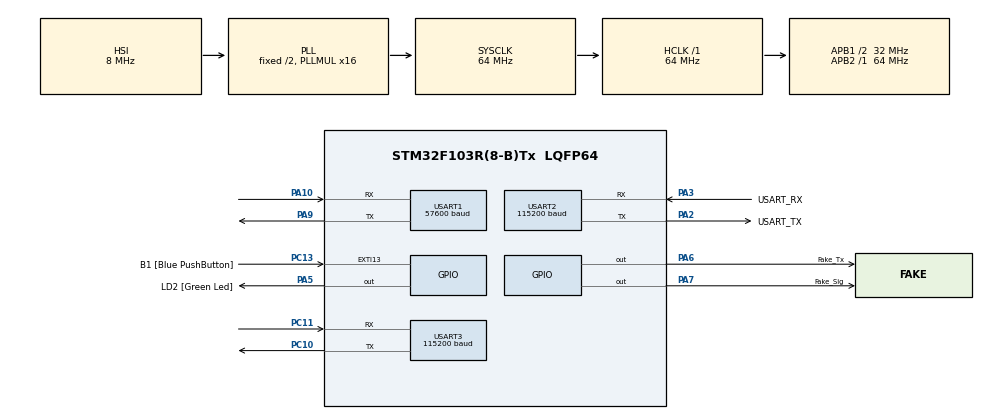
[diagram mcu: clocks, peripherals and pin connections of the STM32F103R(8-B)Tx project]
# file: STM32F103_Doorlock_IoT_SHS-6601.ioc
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Mcu.Family=STM32F1
Mcu.Name=STM32F103R(8-B)Tx
Mcu.Package=LQFP64
NVIC.EXTI15_10_IRQn=true\:0\:0\:false\:false\:true\:true\:true\:true
NVIC.PriorityGroup=NVIC_PRIORITYGROUP_4
NVIC.TIM2_IRQn=true\:0\:0\:false\:false\:true\:true\:true\:true
NVIC.USART1_IRQn=true\:0\:0\:false\:false\:true\:true\:true\:true
NVIC.USART2_IRQn=true\:0\:0\:false\:false\:true\:true\:true\:true
NVIC.USART3_IRQn=true\:0\:0\:false\:false\:true\:true\:true\:true
PA10.Mode=Asynchronous
PA10.Signal=USART1_RX
PA13.GPIO_Label=TMS
PA13.Mode=Serial_Wire
PA13.Signal=SYS_JTMS-SWDIO
PA14.GPIO_Label=TCK
PA14.Mode=Serial_Wire
PA14.Signal=SYS_JTCK-SWCLK
PA2.GPIO_Label=USART_TX
PA2.GPIO_Mode=GPIO_MODE_AF_PP
PA2.GPIO_PuPd=GPIO_NOPULL
PA2.GPIO_Speed=GPIO_SPEED_FREQ_LOW
PA2.Mode=Asynchronous
PA2.Signal=USART2_TX
PA3.GPIO_Label=USART_RX
PA3.GPIO_Mode=GPIO_MODE_AF_PP
PA3.GPIO_PuPd=GPIO_NOPULL
PA3.GPIO_Speed=GPIO_SPEED_FREQ_LOW
PA3.Mode=Asynchronous
PA3.Signal=USART2_RX
PA5.GPIO_Label=LD2 [Green Led]
PA5.GPIO_ModeDefaultOutputPP=GPIO_MODE_OUTPUT_PP
PA5.GPIO_PuPd=GPIO_NOPULL
PA5.GPIO_Speed=GPIO_SPEED_FREQ_LOW
PA5.Signal=GPIO_Output
PA6.GPIO_Label=Fake_Tx
PA6.GPIO_PuPd=GPIO_PULLDOWN
PA6.GPIO_Speed=GPIO_SPEED_FREQ_HIGH
PA6.Signal=GPIO_Output
PA7.GPIO_Label=Fake_Sig
PA7.GPIO_PuPd=GPIO_PULLDOWN
PA7.GPIO_Speed=GPIO_SPEED_FREQ_HIGH
PA7.PinState=GPIO_PIN_RESET
PA7.Signal=GPIO_Output
PA9.Mode=Asynchronous
PA9.Signal=USART1_TX
PB3.GPIO_Label=SWO
PB3.Signal=SYS_JTDO-TRACESWO
PC10.Mode=Asynchronous
PC10.Signal=USART3_TX
PC11.Mode=Asynchronous
PC11.Signal=USART3_RX
PC13-TAMPER-RTC.GPIO_Label=B1 [Blue PushButton]
PC13-TAMPER-RTC.GPIO_PuPd=GPIO_NOPULL
PC13-TAMPER-RTC.Signal=GPXTI13
PC14-OSC32_IN.Mode=LSE-External-Oscillator
PC14-OSC32_IN.Signal=RCC_OSC32_IN
PC15-OSC32_OUT.Mode=LSE-External-Oscillator
PC15-OSC32_OUT.Signal=RCC_OSC32_OUT
PD0-OSC_IN.Mode=HSE-External-Clock-Source
PD0-OSC_IN.Signal=RCC_OSC_IN
PD1-OSC_OUT.Mode=HSE-External-Clock-Source
PD1-OSC_OUT.Signal=RCC_OSC_OUT
ProjectManager.HeapSize=0x200
ProjectManager.StackSize=0x400
ProjectManager.TargetToolchain=STM32CubeIDE
RCC.AHBFreq_Value=64000000
RCC.APB1CLKDivider=RCC_HCLK_DIV2
RCC.APB1Freq_Value=32000000
RCC.APB1TimFreq_Value=64000000
RCC.APB2Freq_Value=64000000
RCC.APB2TimFreq_Value=64000000
RCC.HCLKFreq_Value=64000000
RCC.PLLMUL=RCC_PLL_MUL16
RCC.RTCClockSelection=RCC_RTCCLKSOURCE_LSE
RCC.SYSCLKFreq_VALUE=64000000
RCC.SYSCLKSource=RCC_SYSCLKSOURCE_PLLCLK
RCC.USBFreq_Value=64000000
TIM2.Channel-Output\ Compare1\ No\ Output=TIM_CHANNEL_1
TIM2.Channel-Output\ Compare2\ No\ Output=TIM_CHANNEL_2
TIM2.Channel-Output\ Compare3\ No\ Output=TIM_CHANNEL_3
TIM2.Channel-Output\ Compare4\ No\ Output=TIM_CHANNEL_4
TIM2.Prescaler=6400-1
TIM2.Pulse-Output\ Compare1\ No\ Output=0
TIM2.Pulse-Output\ Compare2\ No\ Output=0
TIM2.Pulse-Output\ Compare3\ No\ Output=0
TIM2.Pulse-Output\ Compare4\ No\ Output=0
USART1.BaudRate=57600
USART1.StopBits=STOPBITS_2
USART1.VirtualMode=VM_ASYNC
USART2.BaudRate=115200
USART2.VirtualMode=VM_ASYNC
USART3.BaudRate=115200
USART3.VirtualMode=VM_ASYNC
VP_TIM2_VS_no_output1.Mode=Output Compare1 No Output
VP_TIM2_VS_no_output2.Mode=Output Compare2 No Output
VP_TIM2_VS_no_output3.Mode=Output Compare3 No Output
VP_TIM2_VS_no_output4.Mode=Output Compare4 No Output
board=NUCLEO-F103RB

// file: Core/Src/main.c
/* USER CODE BEGIN Header */
/**
  ******************************************************************************
  * @file           : main.c
  * @brief          : Main program body
  ******************************************************************************
  * @attention
  *
  * Copyright (c) 2025 STMicroelectronics.
  * All rights reserved.
  *
  * This software is licensed under terms that can be found in the LICENSE file
  * in the root directory of this software component.
  * If no LICENSE file comes with this software, it is provided AS-IS.
  *
  ******************************************************************************
  */
/* USER CODE END Header */
#include "main.h"

/* USER CODE BEGIN Includes */
#include <stdio.h>
#include <string.h>
/* USER CODE END Includes */

/* USER CODE BEGIN PD */
#define UART_BUF_SIZE 1024
/* USER CODE END PD */

TIM_HandleTypeDef htim2;

UART_HandleTypeDef huart1;
UART_HandleTypeDef huart2;
UART_HandleTypeDef huart3;

/* USER CODE BEGIN PV */
// AT+HTTPCLIENT=2,0,"http://blynk.cloud/external/api/get?token=e1iwK4uFc48EElH1MkGSDEsR56BB5bo8s&V0","blynk.cloud","",1
char *cmd = "AT+HTTPCLIENT=2,0,\"http://blynk.cloud/external/api/get?token=e1iwK4uFc48EElH1MkGSDEsR56BB5bo8s&V0\",\"blynk.cloud\",\"\",1\r\n";
uint16_t unlock_time[10] = {4470, 231, 126, 22, 3384, 115, 784, 26, 4450, 106};
uint8_t unlock_data[10][7] = {
		{0xAA, 0x00, 0x03, 0x51, 0x48, 0x00, 0x19},
		{0xAA, 0x00, 0x03, 0x51, 0x56, 0x00, 0x07},
		{0xAA, 0x00, 0x03, 0x50, 0x00, 0x00, 0x50},
		{0xAA, 0x00, 0x03, 0x50, 0x09, 0x00, 0x59},
		{0xAA, 0x00, 0x03, 0x50, 0x08, 0x00, 0x58},
		{0xAA, 0x00, 0x03, 0x50, 0x0A, 0x00, 0x5A},
		{0xAA, 0x00, 0x03, 0x50, 0x00, 0x00, 0x50},
		{0xAA, 0x00, 0x03, 0x50, 0x06, 0x00, 0x56},
		{0xAA, 0x00, 0x03, 0x50, 0x02, 0x00, 0x52},
		{0xAA, 0x00, 0x03, 0x50, 0x0A, 0x00, 0x5A}
};
_Bool run_flag;
uint8_t status, cnt_1, cnt_2;
uint8_t uart_buf_1, uart_buf_2, uart_buf_3;
uint8_t uart_str_2[UART_BUF_SIZE], uart_str_3[UART_BUF_SIZE];
uint16_t uart_idx;
/* USER CODE END PV */

void SystemClock_Config(void);
static void MX_GPIO_Init(void);
static void MX_USART2_UART_Init(void);
static void MX_USART1_UART_Init(void);
static void MX_TIM2_Init(void);
static void MX_USART3_UART_Init(void);
/* USER CODE BEGIN PFP */
void HAL_GPIO_EXTI_Callback(uint16_t GPIO_Pin);
void HAL_UART_RxCpltCallback(UART_HandleTypeDef *huart);
void HAL_TIM_OC_DelayElapsedCallback(TIM_HandleTypeDef *htim);
/* USER CODE END PFP */

int main(void)
{

  /* MCU Configuration--------------------------------------------------------*/

  /* Reset of all peripherals, Initializes the Flash interface and the Systick. */
  HAL_Init();

  /* Configure the system clock */
  SystemClock_Config();

  /* Initialize all configured peripherals */
  MX_GPIO_Init();
  MX_USART2_UART_Init();
  MX_USART1_UART_Init();
  MX_TIM2_Init();
  MX_USART3_UART_Init();
  /* USER CODE BEGIN 2 */
  HAL_UART_Receive_IT(&huart1, &uart_buf_1, 1);
  HAL_UART_Receive_IT(&huart2, &uart_buf_2, 1);
  HAL_UART_Receive_IT(&huart3, &uart_buf_3, 1);
  /* USER CODE END 2 */

  /* Infinite loop */
  /* USER CODE BEGIN WHILE */
  while (1)
  {
	  HAL_UART_Transmit_IT(&huart3, (uint8_t *)cmd, strlen(cmd));
	  HAL_Delay(1000);

    /* USER CODE END WHILE */

  }
}

void SystemClock_Config(void)
{
  RCC_OscInitTypeDef RCC_OscInitStruct = {0};
  RCC_ClkInitTypeDef RCC_ClkInitStruct = {0};

  /** Initializes the RCC Oscillators according to the specified parameters
  * in the RCC_OscInitTypeDef structure.
  */
  RCC_OscInitStruct.OscillatorType = RCC_OSCILLATORTYPE_HSI;
  RCC_OscInitStruct.HSIState = RCC_HSI_ON;
  RCC_OscInitStruct.HSICalibrationValue = RCC_HSICALIBRATION_DEFAULT;
  RCC_OscInitStruct.PLL.PLLState = RCC_PLL_ON;
  RCC_OscInitStruct.PLL.PLLSource = RCC_PLLSOURCE_HSI_DIV2;
  RCC_OscInitStruct.PLL.PLLMUL = RCC_PLL_MUL16;
  if (HAL_RCC_OscConfig(&RCC_OscInitStruct) != HAL_OK)
  {
    Error_Handler();
  }

  /** Initializes the CPU, AHB and APB buses clocks
  */
  RCC_ClkInitStruct.ClockType = RCC_CLOCKTYPE_HCLK|RCC_CLOCKTYPE_SYSCLK
                              |RCC_CLOCKTYPE_PCLK1|RCC_CLOCKTYPE_PCLK2;
  RCC_ClkInitStruct.SYSCLKSource = RCC_SYSCLKSOURCE_PLLCLK;
  RCC_ClkInitStruct.AHBCLKDivider = RCC_SYSCLK_DIV1;
  RCC_ClkInitStruct.APB1CLKDivider = RCC_HCLK_DIV2;
  RCC_ClkInitStruct.APB2CLKDivider = RCC_HCLK_DIV1;

  if (HAL_RCC_ClockConfig(&RCC_ClkInitStruct, FLASH_LATENCY_2) != HAL_OK)
  {
    Error_Handler();
  }
}

static void MX_TIM2_Init(void)
{

  TIM_MasterConfigTypeDef sMasterConfig = {0};
  TIM_OC_InitTypeDef sConfigOC = {0};

  htim2.Instance = TIM2;
  htim2.Init.Prescaler = 6400-1;
  htim2.Init.CounterMode = TIM_COUNTERMODE_UP;
  htim2.Init.Period = 65535;
  htim2.Init.ClockDivision = TIM_CLOCKDIVISION_DIV1;
  htim2.Init.AutoReloadPreload = TIM_AUTORELOAD_PRELOAD_DISABLE;
  if (HAL_TIM_OC_Init(&htim2) != HAL_OK)
  {
    Error_Handler();
  }
  sMasterConfig.MasterOutputTrigger = TIM_TRGO_RESET;
  sMasterConfig.MasterSlaveMode = TIM_MASTERSLAVEMODE_DISABLE;
  if (HAL_TIMEx_MasterConfigSynchronization(&htim2, &sMasterConfig) != HAL_OK)
  {
    Error_Handler();
  }
  sConfigOC.OCMode = TIM_OCMODE_TIMING;
  sConfigOC.Pulse = 0;
  sConfigOC.OCPolarity = TIM_OCPOLARITY_HIGH;
  sConfigOC.OCFastMode = TIM_OCFAST_DISABLE;
  if (HAL_TIM_OC_ConfigChannel(&htim2, &sConfigOC, TIM_CHANNEL_1) != HAL_OK)
  {
    Error_Handler();
  }
  if (HAL_TIM_OC_ConfigChannel(&htim2, &sConfigOC, TIM_CHANNEL_2) != HAL_OK)
  {
    Error_Handler();
  }
  if (HAL_TIM_OC_ConfigChannel(&htim2, &sConfigOC, TIM_CHANNEL_3) != HAL_OK)
  {
    Error_Handler();
  }
  if (HAL_TIM_OC_ConfigChannel(&htim2, &sConfigOC, TIM_CHANNEL_4) != HAL_OK)
  {
    Error_Handler();
  }

}

static void MX_USART1_UART_Init(void)
{

  huart1.Instance = USART1;
  huart1.Init.BaudRate = 57600;
  huart1.Init.WordLength = UART_WORDLENGTH_8B;
  huart1.Init.StopBits = UART_STOPBITS_2;
  huart1.Init.Parity = UART_PARITY_NONE;
  huart1.Init.Mode = UART_MODE_TX_RX;
  huart1.Init.HwFlowCtl = UART_HWCONTROL_NONE;
  huart1.Init.OverSampling = UART_OVERSAMPLING_16;
  if (HAL_UART_Init(&huart1) != HAL_OK)
  {
    Error_Handler();
  }

}

static void MX_USART2_UART_Init(void)
{

  huart2.Instance = USART2;
  huart2.Init.BaudRate = 115200;
  huart2.Init.WordLength = UART_WORDLENGTH_8B;
  huart2.Init.StopBits = UART_STOPBITS_1;
  huart2.Init.Parity = UART_PARITY_NONE;
  huart2.Init.Mode = UART_MODE_TX_RX;
  huart2.Init.HwFlowCtl = UART_HWCONTROL_NONE;
  huart2.Init.OverSampling = UART_OVERSAMPLING_16;
  if (HAL_UART_Init(&huart2) != HAL_OK)
  {
    Error_Handler();
  }

}

static void MX_USART3_UART_Init(void)
{

  huart3.Instance = USART3;
  huart3.Init.BaudRate = 115200;
  huart3.Init.WordLength = UART_WORDLENGTH_8B;
  huart3.Init.StopBits = UART_STOPBITS_1;
  huart3.Init.Parity = UART_PARITY_NONE;
  huart3.Init.Mode = UART_MODE_TX_RX;
  huart3.Init.HwFlowCtl = UART_HWCONTROL_NONE;
  huart3.Init.OverSampling = UART_OVERSAMPLING_16;
  if (HAL_UART_Init(&huart3) != HAL_OK)
  {
    Error_Handler();
  }

}

static void MX_GPIO_Init(void)
{
  GPIO_InitTypeDef GPIO_InitStruct = {0};

  /* GPIO Ports Clock Enable */
  __HAL_RCC_GPIOC_CLK_ENABLE();
  __HAL_RCC_GPIOD_CLK_ENABLE();
  __HAL_RCC_GPIOA_CLK_ENABLE();
  __HAL_RCC_GPIOB_CLK_ENABLE();

  /*Configure GPIO pin Output Level */
  HAL_GPIO_WritePin(GPIOA, LD2_Pin|Fake_Tx_Pin|Fake_Sig_Pin, GPIO_PIN_RESET);

  /*Configure GPIO pin : B1_Pin */
  GPIO_InitStruct.Pin = B1_Pin;
  GPIO_InitStruct.Mode = GPIO_MODE_IT_RISING;
  GPIO_InitStruct.Pull = GPIO_NOPULL;
  HAL_GPIO_Init(B1_GPIO_Port, &GPIO_InitStruct);

  /*Configure GPIO pin : LD2_Pin */
  GPIO_InitStruct.Pin = LD2_Pin;
  GPIO_InitStruct.Mode = GPIO_MODE_OUTPUT_PP;
  GPIO_InitStruct.Pull = GPIO_NOPULL;
  GPIO_InitStruct.Speed = GPIO_SPEED_FREQ_LOW;
  HAL_GPIO_Init(LD2_GPIO_Port, &GPIO_InitStruct);

  /*Configure GPIO pins : Fake_Tx_Pin Fake_Sig_Pin */
  GPIO_InitStruct.Pin = Fake_Tx_Pin|Fake_Sig_Pin;
  GPIO_InitStruct.Mode = GPIO_MODE_OUTPUT_PP;
  GPIO_InitStruct.Pull = GPIO_PULLDOWN;
  GPIO_InitStruct.Speed = GPIO_SPEED_FREQ_HIGH;
  HAL_GPIO_Init(GPIOA, &GPIO_InitStruct);

  /* EXTI interrupt init*/
  HAL_NVIC_SetPriority(EXTI15_10_IRQn, 0, 0);
  HAL_NVIC_EnableIRQ(EXTI15_10_IRQn);

}

/* USER CODE BEGIN 4 */
void HAL_GPIO_EXTI_Callback(uint16_t GPIO_Pin) {
}

void HAL_UART_RxCpltCallback(UART_HandleTypeDef *huart) {
    if(huart->Instance == USART2) {
        if(uart_buf_2 == '\n') {
            uart_str_2[uart_idx] = '\n';
            uart_str_2[uart_idx + 1] = '\0';
            uart_idx = 0;
            HAL_UART_Transmit_IT(&huart3, uart_str_2, strlen((char *)uart_str_2));
        } else {
            uart_str_2[uart_idx++] = uart_buf_2;
            if(uart_idx >= UART_BUF_SIZE) {
                uart_idx = 0;
            }
        }
        HAL_UART_Receive_IT(&huart2, &uart_buf_2, 1);
    }
	if (huart->Instance == USART3) {
		if(uart_buf_3 == '\n') {
			uart_str_3[uart_idx] = '\n';
			uart_str_3[uart_idx + 1] = '\0';
			uart_idx = 0;
			if (strcmp((char *)uart_str_3, "+HTTPCLIENT:1,1\r\n") == 0 && run_flag == 0) {
				run_flag = 1;
				HAL_UART_Receive_IT(&huart1, &uart_buf_1, 1);
				HAL_GPIO_WritePin(Fake_Sig_GPIO_Port, Fake_Sig_Pin, GPIO_PIN_SET);
				HAL_GPIO_WritePin(Fake_Sig_GPIO_Port, Fake_Sig_Pin, GPIO_PIN_RESET);
			}
			HAL_UART_Transmit_IT(&huart2, uart_str_3, strlen((char *)uart_str_3));
		} else {
			uart_str_3[uart_idx++] = uart_buf_3;
			if(uart_idx >= UART_BUF_SIZE) {
                uart_idx = 0;
			}
		}
		HAL_UART_Receive_IT(&huart3, &uart_buf_3, 1);
	}
	if (huart->Instance == USART1 && run_flag == 1) {
		if (cnt_1 == 3 && uart_buf_1 != 0xAA) {
			cnt_1 = 4;

			unlock_data[0][1] = ++uart_buf_1;
		}
		if (cnt_2 == 3 && uart_buf_1 != 0x5A) {
			cnt_2 = 4;

			TIM2->CNT = 0;
			TIM2->CCR1 = 4470;
			TIM2->CCR2 = TIM2->CCR1 + 23;
			TIM2->CCR3 = TIM2->CCR2 + 23;
			TIM2->CCR4 = TIM2->CCR3 + 20;

			HAL_TIM_OC_Start_IT(&htim2, TIM_CHANNEL_1);
			HAL_TIM_OC_Start_IT(&htim2, TIM_CHANNEL_2);
			HAL_TIM_OC_Start_IT(&htim2, TIM_CHANNEL_3);
			HAL_TIM_OC_Start_IT(&htim2, TIM_CHANNEL_4);
		}
		if (uart_buf_1 == 0xAA) cnt_1++;
		if (uart_buf_1 == 0x5A) cnt_2++;

		HAL_UART_Receive_IT(&huart1, &uart_buf_1, 1);
	}
}

void HAL_TIM_OC_DelayElapsedCallback(TIM_HandleTypeDef *htim) {
	if (htim->Instance == TIM2) {
		if (htim->Channel == HAL_TIM_ACTIVE_CHANNEL_1) {
			HAL_GPIO_WritePin(Fake_Tx_GPIO_Port, Fake_Tx_Pin, GPIO_PIN_SET);

			HAL_UART_Transmit_IT(&huart1, unlock_data[status], 7);
		}
		if (htim->Channel == HAL_TIM_ACTIVE_CHANNEL_2) {
			HAL_UART_Transmit_IT(&huart1, unlock_data[status], 7);
		}
		if (htim->Channel == HAL_TIM_ACTIVE_CHANNEL_3) {
			HAL_UART_Transmit_IT(&huart1, unlock_data[status], 7);
		}
		if (htim->Channel == HAL_TIM_ACTIVE_CHANNEL_4) {
			status++;
			unlock_data[status][1] = unlock_data[0][1] + status;
			TIM2->CNT = 0;
			if (status >= 1 && status <= 9) {
				TIM2->CCR1 = unlock_time[status];
				TIM2->CCR2 = TIM2->CCR1 + 23;
				TIM2->CCR3 = TIM2->CCR2 + 23;
				TIM2->CCR4 = TIM2->CCR3 + 20;
			} else {
				HAL_GPIO_WritePin(Fake_Tx_GPIO_Port, Fake_Tx_Pin, GPIO_PIN_RESET);

				HAL_TIM_OC_Stop_IT(&htim2, TIM_CHANNEL_1);
				HAL_TIM_OC_Stop_IT(&htim2, TIM_CHANNEL_2);
				HAL_TIM_OC_Stop_IT(&htim2, TIM_CHANNEL_3);
				HAL_TIM_OC_Stop_IT(&htim2, TIM_CHANNEL_4);

				run_flag = 0;
				status = 0;
				cnt_1 = 0;
				cnt_2 = 0;
			}
		}
	}
}
/* USER CODE END 4 */

void Error_Handler(void)
{
  __disable_irq();
  while (1)
  {
  }
}
